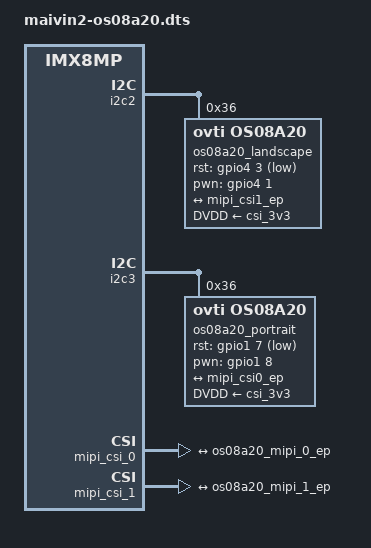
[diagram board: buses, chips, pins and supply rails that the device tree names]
// SPDX-License-Identifier: AGPL-3.0
/*
 * Copyright 2023 Au-Zone Technologies
 */

// Maivin 1 camera Overlay for the OS08A20 Sensor

/dts-v1/;
/plugin/;

#include <dt-bindings/clock/imx8mp-clock.h>
#include <dt-bindings/gpio/gpio.h>

#include "imx8mp-pinfunc.h"

/ {
	compatible = "toradex,verdin-imx8mp";
};

/* Verdin I2C_2_CSI */
&i2c2 {
	#address-cells = <1>;
	#size-cells = <0>;
	status = "okay";

	os08a20_landscape: os08a20_mipi@36 {
		compatible = "ovti,os08a20";
		reg = <0x36>;
		pinctrl-names = "default";
		pinctrl-0 = <&pinctrl_csi2_control>;
		DVDD-supply = <&csi_3v3>;
		clocks = <&clk_dummy>;
		clock-names = "csi_mclk";
		mclk = <24000000>;
		mclk_source = <0>;
		csi_id = <1>;
		status = "okay";

		rst-gpios = <&gpio4 3 GPIO_ACTIVE_LOW>;
		pwn-gpios = <&gpio4 1 GPIO_ACTIVE_HIGH>;

		port {
			os08a20_mipi_1_ep: endpoint {
				data-lanes = <1 2 3 4>;
				clock-lanes = <0>;
				max-pixel-frequency = /bits/ 64 <500000000>;
				remote-endpoint = <&mipi_csi1_ep>;
			};
		};
	};
};

/* Verdin I2C_4_CSI */
&i2c3 {
	#address-cells = <1>;
	#size-cells = <0>;
	status = "okay";

	os08a20_portrait: os08a20_mipi@36 {
		compatible = "ovti,os08a20";
		reg = <0x36>;
		pinctrl-names = "default";
		pinctrl-0 = <&pinctrl_csi1_control>;
		DVDD-supply = <&csi_3v3>;
		clocks = <&clk_dummy>;
		clock-names = "csi_mclk";
		mclk = <24000000>;
		mclk_source = <0>;
		csi_id = <0>;
		status = "okay";

		rst-gpios = <&gpio1 7 GPIO_ACTIVE_LOW>;
		pwn-gpios = <&gpio1 8 GPIO_ACTIVE_HIGH>;

		port {
			os08a20_mipi_0_ep: endpoint {
				data-lanes = <1 2 3 4>;
				clock-lanes = <0>;
				max-pixel-frequency = /bits/ 64 <500000000>;
				remote-endpoint = <&mipi_csi0_ep>;
			};
		};
	};
};

&mipi_csi_0 {
	#address-cells = <1>;
	#size-cells = <0>;
	/*
	 * 333MHz / SYS_PLL2_1000M (1000MHz / 3). Required for 4K: the CSI-2
	 * receiver cannot sustain 3840x2160 at 30fps on less, and the failure
	 * is a cliff rather than a slope -- 4K collapses to ~2fps, while
	 * 1080p60 is unaffected at any rate tested.
	 *
	 * Measured on verdin-imx8mp-15141091 (landscape, sensor on CSI1 ->
	 * CAM2_PIX), as camera/frame publish rate:
	 *
	 *   parent           div  rate        4K        1080p60
	 *   sys_pll1_266m     1   266.67MHz    2.02fps   60.0Hz
	 *   sys_pll1_800m     3   266.67MHz    2.02fps   60.0Hz
	 *   sys_pll2_1000m    3   333.33MHz   30.05fps   59.97Hz
	 *   sys_pll2_1000m    2   500.00MHz   30.06fps   60.0Hz
	 *
	 * Frequency is what matters, not the clock routing: the two 266.67MHz
	 * rows reach the same frequency by different parents and both fail
	 * identically. The knee sits in (266.67, 333.33], and 333 performs no
	 * better than 500, so this is past it rather than on it.
	 *
	 * THIS EXCEEDS THE SoC LIMIT. IMX8MP_CLK_MEDIA_CAM2_PIX is specified
	 * at 277MHz max, and no clock path reaches anything in
	 * (266.67, 277] -- every integer divisor of every available parent
	 * skips the window, so the highest in-spec rate is the 266.67MHz that
	 * fails. 4K on this port therefore requires running the clock out of
	 * spec, which is a deliberate decision and not an oversight.
	 *
	 * IT ALSO NEEDS A KERNEL PATCH TO SURVIVE. From Linux 6.6.87
	 * ("clk: imx8mp: inform CCF of maximum frequency of clocks") the CCF
	 * enforces that 277MHz cap on CAM2_PIX, silently clamping a 333MHz
	 * request to 250MHz -- BELOW the 266.67MHz that ships today, which
	 * would regress 4K and endanger 1080p60. Torizon's 6.6.84 kernel does
	 * not enforce it (verified: clk_max_rate reads U64_MAX, and
	 * clk-imx8mp.c registers these as plain composites with no
	 * clk_hw_set_rate_range), so this works as-is today. The clamp must be
	 * lifted in the kernel before any Torizon kernel bump past 6.6.87, or
	 * this silently becomes the 500MHz regression all over again.
	 *
	 * mipi_csi_0 uses CAM1_PIX, which the same kernel change leaves
	 * unconstrained; both ports are set together so the two do not run at
	 * different rates for no reason.
	 */
	clock-frequency = <333333333>;
	assigned-clock-parents = <&clk IMX8MP_SYS_PLL2_1000M>;
	assigned-clock-rates = <333333333>;
	status = "okay";

	port@0 {
		reg = <0>;
		mipi_csi0_ep: endpoint {
			remote-endpoint = <&os08a20_mipi_0_ep>;
			data-lanes = <4>;
			csis-hs-settle = <16>;
			csis-clk-settle = <2>;
			csis-wclk;
		};
	};
};

&mipi_csi_1 {
	#address-cells = <1>;
	#size-cells = <0>;
	/* See &mipi_csi_0 above for the measurements, the out-of-spec
	 * decision, and the kernel patch this depends on. This is the port
	 * that actually matters on a landscape board: the sensor binds here
	 * (os08a20 1-0036 -> CSI1 -> CAM2_PIX), which is the capped clock. */
	clock-frequency = <333333333>;
	assigned-clock-parents = <&clk IMX8MP_SYS_PLL2_1000M>;
	assigned-clock-rates = <333333333>;
	status = "okay";

	port@1 {
		reg = <1>;
		mipi_csi1_ep: endpoint {
			remote-endpoint = <&os08a20_mipi_1_ep>;
			data-lanes = <4>;
			csis-hs-settle = <16>;
			csis-clk-settle = <2>;
			csis-wclk;
		};
	};
};
